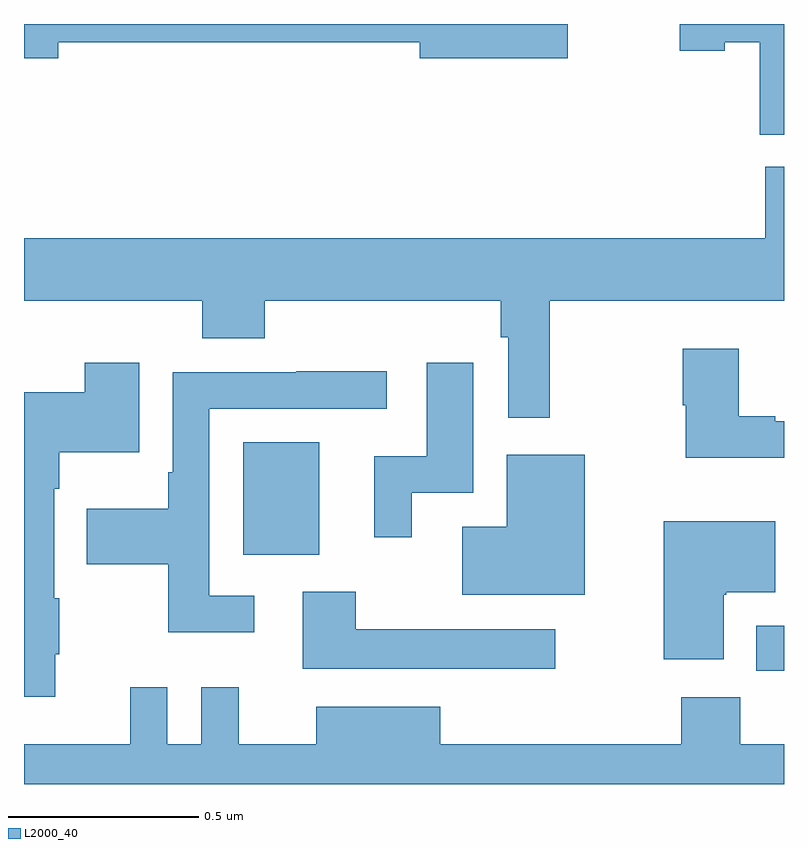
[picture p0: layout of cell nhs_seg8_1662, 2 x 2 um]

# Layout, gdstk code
import gdstk
lib = gdstk.Library(unit=1e-6, precision=1e-09)
def R(c, l, rs):  # rectangles x0, y0, x1, y1
    for r in rs: c.add(gdstk.rectangle(r[:2], r[2:], *l))
def P(c, l, *ps):  # polygons
    for p in ps: c.add(gdstk.Polygon(p, *l))
L2000_40 = (2000, 40)

nhs_seg8_1662 = lib.new_cell('nhs_seg8_1662')
R(nhs_seg8_1662, L2000_40, [(134.927,1110.198,135,1110.316), (133.577,1110.503,133.777,1110.799)])
P(nhs_seg8_1662, L2000_40, [(135,1111.9),(134.726,1111.9),(134.726,1111.829),(134.844,1111.829),(134.844,1111.852),(134.936,1111.852),(134.936,1111.609),(135,1111.609)],
  [(133.09,1111.852),(134.042,1111.852),(134.042,1111.81),(134.431,1111.81),(134.431,1111.9),(133,1111.9),(133,1111.81),(133.09,1111.81)],
  [(134.383,1111.172),(135,1111.172),(135,1111.524),(134.951,1111.524),(134.951,1111.336),(133,1111.336),(133,1111.172),(133.469,1111.172),(133.469,1111.073),(133.634,1111.073),(133.634,1111.172),(134.254,1111.172),(134.254,1111.076),(134.274,1111.076),(134.274,1110.864),(134.383,1110.864)],
  [(135,1110.855),(134.977,1110.855),(134.977,1110.868),(134.881,1110.868),(134.881,1111.045),(134.734,1111.045),(134.734,1110.897),(134.741,1110.897),(134.741,1110.758),(135,1110.758)],
  [(133.082,1110.241),(133.093,1110.241),(133.093,1110.389),(133.08,1110.389),(133.08,1110.677),(133.093,1110.677),(133.093,1110.773),(133.303,1110.773),(133.303,1111.009),(133.16,1111.009),(133.16,1110.931),(133,1110.931),(133,1110.129),(133.082,1110.129)],
  [(134.02,1110.666),(134.182,1110.666),(134.182,1111.009),(134.06,1111.009),(134.06,1110.762),(133.922,1110.762),(133.922,1110.549),(134.02,1110.549)],
  [(133.606,1110.396),(133.488,1110.396),(133.488,1110.888),(133.954,1110.888),(133.954,1110.986),(133.717,1110.986),(133.717,1110.984),(133.392,1110.984),(133.392,1110.721),(133.38,1110.721),(133.38,1110.625),(133.165,1110.625),(133.165,1110.478),(133.38,1110.478),(133.38,1110.299),(133.606,1110.299)],
  [(134.476,1110.766),(134.27,1110.766),(134.27,1110.577),(134.153,1110.577),(134.153,1110.398),(134.476,1110.398)],
  [(134.842,1110.398),(134.848,1110.398),(134.848,1110.404),(134.977,1110.404),(134.977,1110.592),(134.684,1110.592),(134.684,1110.228),(134.842,1110.228)],
  [(134.398,1110.307),(133.873,1110.307),(133.873,1110.406),(133.733,1110.406),(133.733,1110.203),(134.398,1110.203)],
  [(135,1110.004),(134.885,1110.004),(134.885,1110.128),(134.729,1110.128),(134.729,1110.004),(134.095,1110.004),(134.095,1110.103),(133.769,1110.103),(133.769,1110.004),(133.565,1110.004),(133.565,1110.154),(133.467,1110.154),(133.467,1110.004),(133.377,1110.004),(133.377,1110.154),(133.28,1110.154),(133.28,1110.004),(133,1110.004),(133,1109.9),(135,1109.9)])

lib.write_gds('nhs_seg8_1662.gds')
